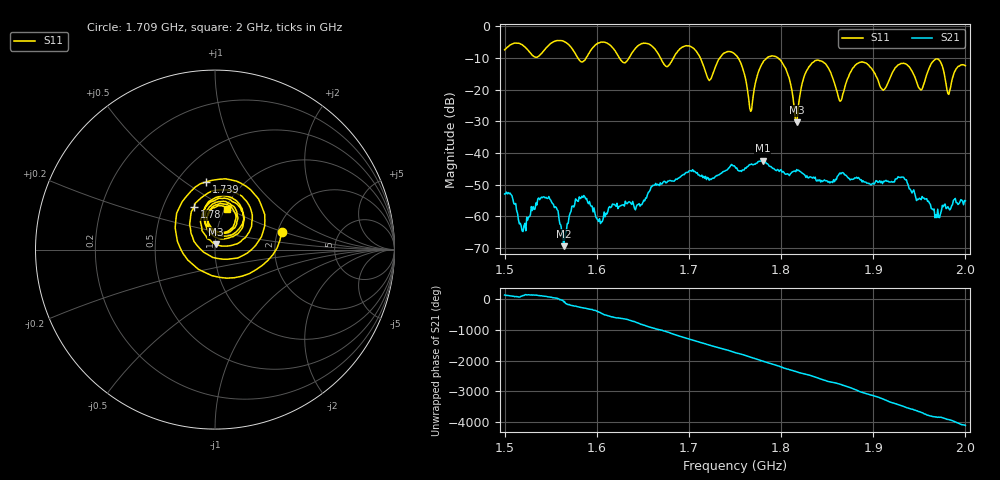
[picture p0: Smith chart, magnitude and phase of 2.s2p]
! NanoVNA-App by SYSJOINT et al v1.1.209 (+OD18)
! Date: 2026-01-21 14:18:01
! Start: 1,5GHz Stop: 2GHz Points: 501
! S-Parameter data: F S11 S21 S12 S22
# Hz S RI R 50
!  Frequency  S11_Real  S11_Imag  S21_Real  S21_Imag  S12_Real  S12_Imag  S22_Real  S22_Imag
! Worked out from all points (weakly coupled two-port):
!   501 points, 1.5 GHz to 2 GHz, reference 50 ohm
!   highest |S21| = -42.41 dB at 1.78 GHz (marker M1); lowest = -69.4 dB at 1.564 GHz (marker M2)
!   lowest |S11| = -30.3 dB at 1.817 GHz (marker M3), VSWR 1.06, Z = 50.3 + j3.04 ohm
!   |S11| at or under -10 dB: 1.712 GHz to 1.734 GHz (21.2 MHz wide, 1.23 % of centre); 1.753 GHz to 1.785 GHz (31.43 MHz wide, 1.78 % of centre); 1.797 GHz to end of sweep (the widest 3 of 6)
!   S12 and S22 are empty: the file has one direction only
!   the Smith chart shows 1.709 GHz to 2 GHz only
!   S11 on the Smith chart (normalised r, x): 1.709 GHz: 2.11, +0.47; 1.739 GHz: 0.69, +0.61; 1.78 GHz: 0.71, +0.36; 2 GHz: 1.02, +0.50
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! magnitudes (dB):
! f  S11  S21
! 1.5 GHz  -7.5  -52.9
! 1.521 GHz  -6.3  -63.0
! 1.548 GHz  -6.0  -53.7
! 1.564 GHz  -4.7  -69.4
! 1.584 GHz  -11.3  -53.6
! 1.604 GHz  -5.1  -62.2
! 1.667 GHz  -8.8  -50.0
! 1.709 GHz  -8.3  -46.2
! 1.722 GHz  -17.1  -48.6
! 1.739 GHz  -8.4  -45.7
! 1.75 GHz  -8.9  -44.3
! 1.767 GHz  -26.9  -43.6
! 1.78 GHz  -11.6  -42.4
! 1.802 GHz  -11.8  -45.8
! 1.817 GHz  -30.3  -45.2
! 1.834 GHz  -11.5  -47.9
! 1.864 GHz  -23.7  -46.3
! 1.885 GHz  -11.4  -48.2
! 1.917 GHz  -17.2  -49.1
! 1.969 GHz  -10.3  -60.4
! 1.982 GHz  -21.5  -57.5
! 2 GHz  -12.5  -55.1
